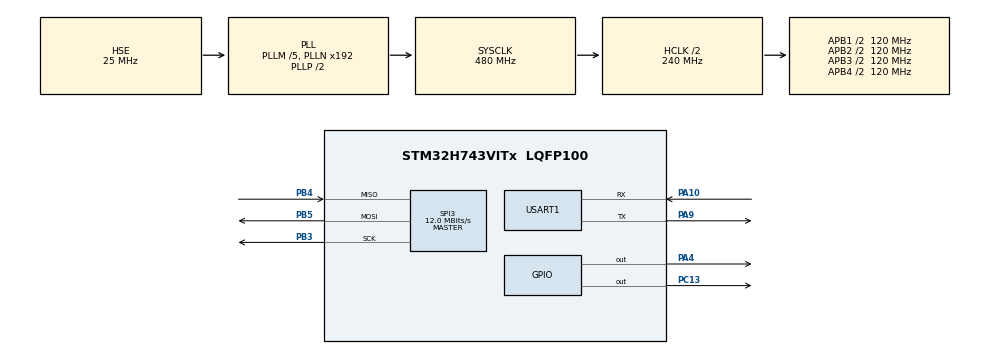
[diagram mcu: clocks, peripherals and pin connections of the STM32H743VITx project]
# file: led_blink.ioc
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CORTEX_M7.default_mode_Activation=1
Mcu.Family=STM32H7
Mcu.Name=STM32H743VITx
Mcu.Package=LQFP100
NVIC.PriorityGroup=NVIC_PRIORITYGROUP_4
PA10.GPIO_ModeDefaultPP=GPIO_MODE_AF_OD
PA10.GPIO_PuPd=GPIO_PULLUP
PA10.Mode=Asynchronous
PA10.Signal=USART1_RX
PA13\ (JTMS/SWDIO).Mode=Serial_Wire
PA13\ (JTMS/SWDIO).Signal=DEBUG_JTMS-SWDIO
PA14\ (JTCK/SWCLK).Mode=Serial_Wire
PA14\ (JTCK/SWCLK).Signal=DEBUG_JTCK-SWCLK
PA4.GPIO_PuPd=GPIO_NOPULL
PA4.Signal=GPIO_Output
PA9.GPIO_ModeDefaultPP=GPIO_MODE_AF_PP
PA9.GPIO_PuPd=GPIO_PULLUP
PA9.Mode=Asynchronous
PA9.Signal=USART1_TX
PB3\ (JTDO/TRACESWO).Mode=Full_Duplex_Master
PB3\ (JTDO/TRACESWO).Signal=SPI3_SCK
PB4\ (NJTRST).Mode=Full_Duplex_Master
PB4\ (NJTRST).Signal=SPI3_MISO
PB5.Mode=Full_Duplex_Master
PB5.Signal=SPI3_MOSI
PC13.GPIO_PuPd=GPIO_PULLUP
PC13.Signal=GPIO_Output
PH0-OSC_IN\ (PH0).Mode=HSE-External-Oscillator
PH0-OSC_IN\ (PH0).Signal=RCC_OSC_IN
PH1-OSC_OUT\ (PH1).Mode=HSE-External-Oscillator
PH1-OSC_OUT\ (PH1).Signal=RCC_OSC_OUT
ProjectManager.HeapSize=0x200
ProjectManager.StackSize=0x400
ProjectManager.TargetToolchain=Makefile
RCC.ADCFreq_Value=192000000
RCC.APB1Freq_Value=120000000
RCC.APB2Freq_Value=120000000
RCC.APB3Freq_Value=120000000
RCC.APB4Freq_Value=120000000
RCC.CortexFreq_Value=480000000
RCC.D1PPRE=RCC_APB3_DIV2
RCC.D2PPRE1=RCC_APB1_DIV2
RCC.D2PPRE2=RCC_APB2_DIV2
RCC.D3PPRE=RCC_APB4_DIV2
RCC.DIVM1=5
RCC.DIVM2=5
RCC.DIVM3=5
RCC.DIVN1=192
RCC.DIVN2=192
RCC.DIVN3=192
RCC.DIVP2=5
RCC.DIVP3=5
RCC.DIVQ1=5
RCC.DIVQ2=5
RCC.DIVQ3=5
RCC.DIVR1=5
RCC.HCLKFreq_Value=240000000
RCC.HPRE=RCC_HCLK_DIV2
RCC.PLL2FRACN=0
RCC.PLL3FRACN=0
RCC.PLLFRACN=0
RCC.PLLSourceVirtual=RCC_PLLSOURCE_HSE
RCC.SYSCLKFreq_VALUE=480000000
RCC.SYSCLKSource=RCC_SYSCLKSOURCE_PLLCLK
RCC.USBFreq_Value=192000000
SPI3.BaudRatePrescaler=SPI_BAUDRATEPRESCALER_16
SPI3.CLKPhase=SPI_PHASE_2EDGE
SPI3.CLKPolarity=SPI_POLARITY_HIGH
SPI3.CalculateBaudRate=12.0 MBits/s
SPI3.DataSize=SPI_DATASIZE_8BIT
SPI3.Direction=SPI_DIRECTION_2LINES
SPI3.Mode=SPI_MODE_MASTER
SPI3.VirtualNSS=VM_NSSSOFT
SPI3.VirtualType=VM_MASTER
USART1.VirtualMode-Asynchronous=VM_ASYNC
VP_MEMORYMAP_VS_MEMORYMAP.Mode=CurAppReg
board=custom

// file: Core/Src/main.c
/* USER CODE BEGIN Header */
/**
  ******************************************************************************
  * @file           : main.c
  * @brief          : Main program body
  ******************************************************************************
  * @attention
  *
  * Copyright (c) 2026 STMicroelectronics.
  * All rights reserved.
  *
  * This software is licensed under terms that can be found in the LICENSE file
  * in the root directory of this software component.
  * If no LICENSE file comes with this software, it is provided AS-IS.
  *
  ******************************************************************************
  */
/* USER CODE END Header */
#include "main.h"

/* USER CODE BEGIN Includes */
#include <ctype.h>
#include <stdio.h>
#include <string.h>
#include "icm42688p.h"

/* USER CODE END Includes */

/* USER CODE BEGIN PD */
/*
 * Runtime print period once the full IMU startup sequence has completed.
 * At that point we print converted values, not the original raw registers.
 */
#define UART_SEND_PERIOD_MS    200U
#define UART_RX_BUFFER_SIZE    128U
#define UART_RX_IDLE_MS        20U

/* According to the INV self-test API:
 * bit0 = gyro pass
 * bit1 = accel pass
 * therefore 0x03 means both sensors passed.
 */
#define IMU_SELF_TEST_PASS_MASK      0x03

/* Fixed-point helpers used only for UART formatting. */
#define FIXED_POINT_3_SCALE          1000UL
#define FIXED_POINT_2_SCALE          100UL

/* USER CODE END PD */

SPI_HandleTypeDef hspi3;

UART_HandleTypeDef huart1;

/* USER CODE BEGIN PV */
/*
 * Application-level state used only by the demo in main.c.
 *
 * The IMU driver state itself lives inside icm42688p.c; these variables only
 * store:
 * - the latest sample for printing
 * - the latest reported official self-test bias values
 * - UART receive helper state
 * - temporary text buffers
 */
static uint32_t uart_send_last_tick = 0U;
static uint8_t uart_rx_byte = 0U;
static char uart_rx_buffer[UART_RX_BUFFER_SIZE] = {0};
static uint16_t uart_rx_len = 0U;
static uint32_t uart_rx_last_tick = 0U;
static ICM42688P_Data_t imu_data;
static ICM42688P_OfficialBias_t imu_official_bias;
static char uart_tx_buffer[192] = {0};
static char uart_reply_buffer[192] = {0};

/* USER CODE END PV */

void SystemClock_Config(void);
static void MPU_Config(void);
static void MX_GPIO_Init(void);
static void MX_USART1_UART_Init(void);
static void MX_SPI3_Init(void);
/* USER CODE BEGIN PFP */
static void UART_FlushReceivedMessage(void);
static void UART_ProcessReceivedByte(uint8_t byte);
static void UART_SendString(const char *text);
static long UART_ScaleFloat(float value, long scale);
static void UART_FormatFixedPoint(char *buffer, size_t buffer_size, long scaled_value, unsigned long scale, unsigned int decimals);
static int UART_IsEnterCommand(const char *command);
static void UART_WaitForEnterCommand(void);
static void UART_PrintOfficialBiasReport(const ICM42688P_OfficialBias_t *bias);
static void UART_PrintConvertedImuData(const ICM42688P_Data_t *data);
static int IMU_StartupSequence(void);

/* USER CODE END PFP */

/* USER CODE BEGIN 0 */
/*
 * Flush the small UART receive line buffer.
 *
 * This is unrelated to the IMU logic. It is only a simple echo-style helper
 * kept from the original template so incoming UART text can still be observed.
 */
static void UART_FlushReceivedMessage(void)
{
  int reply_len = 0;

  if (uart_rx_len == 0U)
  {
    return;
  }

  reply_len = snprintf(uart_reply_buffer, sizeof(uart_reply_buffer),
                       "receive the data from pc: %s\r\n", uart_rx_buffer);
  if (reply_len > 0)
  {
    HAL_UART_Transmit(&huart1, (uint8_t *)uart_reply_buffer, (uint16_t)reply_len, HAL_MAX_DELAY);
  }

  uart_rx_len = 0U;
  uart_rx_buffer[0] = '\0';
}

/* Push one received byte into the line buffer and flush on CR/LF. */
static void UART_ProcessReceivedByte(uint8_t byte)
{
  if ((byte == '\r') || (byte == '\n'))
  {
    UART_FlushReceivedMessage();
    return;
  }

  if (uart_rx_len < (UART_RX_BUFFER_SIZE - 1U))
  {
    uart_rx_buffer[uart_rx_len++] = (char)byte;
    uart_rx_buffer[uart_rx_len] = '\0';
    uart_rx_last_tick = HAL_GetTick();
  }
  else
  {
    uart_rx_len = 0U;
    uart_rx_buffer[0] = '\0';
  }
}

/*
 * Minimal "send one C string" helper.
 *
 * The goal is to keep later status-printing code readable. Without this helper,
 * startup code would be cluttered with repeated HAL_UART_Transmit calls.
 */
static void UART_SendString(const char *text)
{
  if (text == NULL)
  {
    return;
  }

  HAL_UART_Transmit(&huart1, (uint8_t *)text, (uint16_t)strlen(text), HAL_MAX_DELAY);
}

/*
 * Convert a floating-point value to an integer scaled by `scale`.
 *
 * Example:
 * value = 1.234, scale = 1000 -> returns about 1234
 *
 * We do this so the later UART formatting step can build a predictable
 * fixed-point decimal string without relying on `%f`, which is often avoided in
 * embedded `printf` configurations for size reasons.
 */
static long UART_ScaleFloat(float value, long scale)
{
  if (value >= 0.0f)
  {
    return (long)(value * (float)scale + 0.5f);
  }

  return (long)(value * (float)scale - 0.5f);
}

/*
 * Format an already-scaled integer as a decimal string.
 *
 * Example:
 * scaled_value = -1234, scale = 1000, decimals = 3
 * output       = "-1.234"
 *
 * This helper is used by both bias-report printing and normal runtime data
 * printing so those higher-level functions can stay easy to scan.
 */
static void UART_FormatFixedPoint(char *buffer, size_t buffer_size, long scaled_value, unsigned long scale, unsigned int decimals)
{
  const char *sign = "";
  unsigned long abs_value;
  unsigned long whole;
  unsigned long fraction;

  if ((buffer == NULL) || (buffer_size == 0U) || (scale == 0UL))
  {
    return;
  }

  if (scaled_value < 0L)
  {
    sign = "-";
  }

  abs_value = (scaled_value < 0L) ? (unsigned long)(-scaled_value) : (unsigned long)scaled_value;
  whole = abs_value / scale;
  fraction = abs_value % scale;

  (void)snprintf(buffer, buffer_size, "%s%lu.%0*lu", sign, whole, (int)decimals, fraction);
}

/*
 * Check whether one UART line should be treated as the "start runtime" command.
 *
 * We intentionally accept two user habits:
 * - just press Enter on an empty line
 * - type "enter" and then press Enter
 *
 * That makes the startup gate easy to trigger from common serial tools.
 */
static int UART_IsEnterCommand(const char *command)
{
  static const char expected_command[] = "enter";
  size_t index = 0U;

  if (command == NULL)
  {
    return 0;
  }

  if (command[0] == '\0')
  {
    return 1;
  }

  while (expected_command[index] != '\0')
  {
    if ((char)tolower((unsigned char)command[index]) != expected_command[index])
    {
      return 0;
    }

    index++;
  }

  return (command[index] == '\0') ? 1 : 0;
}

/*
 * Block startup until the operator explicitly allows runtime output to begin.
 *
 * Why wait here instead of immediately entering the main loop:
 * - the self-test report stays on screen long enough for the user to read it
 * - the first stream of 200 ms runtime prints does not immediately scroll the
 *   bias report away
 * - the user can decide exactly when the application starts its normal phase
 *
 * Accepted UART actions:
 * - press Enter on an empty line
 * - type "enter" then press Enter
 */
static void UART_WaitForEnterCommand(void)
{
  char command_buffer[16] = {0};
  uint8_t rx_char = 0U;
  uint8_t command_length = 0U;

  UART_SendString("ICM42688P initialization complete.\r\n");
  UART_SendString("Press Enter, or type 'enter' then press Enter, to start runtime output.\r\n");

  while (1)
  {
    if (HAL_UART_Receive(&huart1, &rx_char, 1U, HAL_MAX_DELAY) != HAL_OK)
    {
      continue;
    }

    if ((rx_char == '\r') || (rx_char == '\n'))
    {
      command_buffer[command_length] = '\0';

      if (UART_IsEnterCommand(command_buffer) != 0)
      {
        UART_SendString("Runtime output started.\r\n");
        return;
      }

      UART_SendString("Unknown command. Press Enter or send 'enter'.\r\n");
      command_length = 0U;
      command_buffer[0] = '\0';
      continue;
    }

    if (command_length < (sizeof(command_buffer) - 1U))
    {
      command_buffer[command_length++] = (char)rx_char;
      command_buffer[command_length] = '\0';
    }
    else
    {
      UART_SendString("Command too long. Press Enter or send 'enter'.\r\n");
      command_length = 0U;
      command_buffer[0] = '\0';
    }
  }
}

/*
 * Print the bias report reported by the official INV self-test path.
 *
 * We print each axis twice:
 * - exact Q16 value returned by inv_icm426xx_get_st_bias()
 * - converted engineering value for fast human inspection
 *
 * This is useful when comparing:
 * - our project log
 * - official driver behavior
 * - future register-level debugging
 */
static void UART_PrintOfficialBiasReport(const ICM42688P_OfficialBias_t *bias)
{
  char acc_x[16];
  char acc_y[16];
  char acc_z[16];
  char gyr_x[16];
  char gyr_y[16];
  char gyr_z[16];

  if (bias == NULL)
  {
    return;
  }

  UART_FormatFixedPoint(acc_x, sizeof(acc_x), UART_ScaleFloat(bias->accel_g[0], (long)FIXED_POINT_3_SCALE), FIXED_POINT_3_SCALE, 3U);
  UART_FormatFixedPoint(acc_y, sizeof(acc_y), UART_ScaleFloat(bias->accel_g[1], (long)FIXED_POINT_3_SCALE), FIXED_POINT_3_SCALE, 3U);
  UART_FormatFixedPoint(acc_z, sizeof(acc_z), UART_ScaleFloat(bias->accel_g[2], (long)FIXED_POINT_3_SCALE), FIXED_POINT_3_SCALE, 3U);
  UART_FormatFixedPoint(gyr_x, sizeof(gyr_x), UART_ScaleFloat(bias->gyro_dps[0], (long)FIXED_POINT_3_SCALE), FIXED_POINT_3_SCALE, 3U);
  UART_FormatFixedPoint(gyr_y, sizeof(gyr_y), UART_ScaleFloat(bias->gyro_dps[1], (long)FIXED_POINT_3_SCALE), FIXED_POINT_3_SCALE, 3U);
  UART_FormatFixedPoint(gyr_z, sizeof(gyr_z), UART_ScaleFloat(bias->gyro_dps[2], (long)FIXED_POINT_3_SCALE), FIXED_POINT_3_SCALE, 3U);

  (void)snprintf(uart_tx_buffer,
                 sizeof(uart_tx_buffer),
                 "Official GYR bias Q16[dps*65536]: %ld,%ld,%ld\r\n",
                 (long)bias->gyro_q16[0],
                 (long)bias->gyro_q16[1],
                 (long)bias->gyro_q16[2]);
  UART_SendString(uart_tx_buffer);

  (void)snprintf(uart_tx_buffer,
                 sizeof(uart_tx_buffer),
                 "Official GYR bias[dps]: %s,%s,%s\r\n",
                 gyr_x,
                 gyr_y,
                 gyr_z);
  UART_SendString(uart_tx_buffer);

  (void)snprintf(uart_tx_buffer,
                 sizeof(uart_tx_buffer),
                 "Official ACC bias Q16[g*65536]: %ld,%ld,%ld\r\n",
                 (long)bias->accel_q16[0],
                 (long)bias->accel_q16[1],
                 (long)bias->accel_q16[2]);
  UART_SendString(uart_tx_buffer);

  (void)snprintf(uart_tx_buffer,
                 sizeof(uart_tx_buffer),
                 "Official ACC bias[g]: %s,%s,%s\r\n",
                 acc_x,
                 acc_y,
                 acc_z);
  UART_SendString(uart_tx_buffer);
}

/*
 * Print the normal periodic IMU output once initialization is complete.
 *
 * At this stage:
 * - self-test has already passed
 * - official bias has already been reported to the user
 * - the user has explicitly pressed Enter to begin the runtime phase
 *
 * So this function only focuses on presentation.
 */
static void UART_PrintConvertedImuData(const ICM42688P_Data_t *data)
{
  char acc_x[16];
  char acc_y[16];
  char acc_z[16];
  char gyr_x[16];
  char gyr_y[16];
  char gyr_z[16];
  char temp_c[16];

  if (data == NULL)
  {
    return;
  }

  UART_FormatFixedPoint(acc_x, sizeof(acc_x), UART_ScaleFloat(data->accel_g[0], (long)FIXED_POINT_3_SCALE), FIXED_POINT_3_SCALE, 3U);
  UART_FormatFixedPoint(acc_y, sizeof(acc_y), UART_ScaleFloat(data->accel_g[1], (long)FIXED_POINT_3_SCALE), FIXED_POINT_3_SCALE, 3U);
  UART_FormatFixedPoint(acc_z, sizeof(acc_z), UART_ScaleFloat(data->accel_g[2], (long)FIXED_POINT_3_SCALE), FIXED_POINT_3_SCALE, 3U);
  UART_FormatFixedPoint(gyr_x, sizeof(gyr_x), UART_ScaleFloat(data->gyro_dps[0], (long)FIXED_POINT_3_SCALE), FIXED_POINT_3_SCALE, 3U);
  UART_FormatFixedPoint(gyr_y, sizeof(gyr_y), UART_ScaleFloat(data->gyro_dps[1], (long)FIXED_POINT_3_SCALE), FIXED_POINT_3_SCALE, 3U);
  UART_FormatFixedPoint(gyr_z, sizeof(gyr_z), UART_ScaleFloat(data->gyro_dps[2], (long)FIXED_POINT_3_SCALE), FIXED_POINT_3_SCALE, 3U);
  UART_FormatFixedPoint(temp_c, sizeof(temp_c), UART_ScaleFloat(data->temperature_c, (long)FIXED_POINT_2_SCALE), FIXED_POINT_2_SCALE, 2U);

  (void)snprintf(uart_tx_buffer,
                 sizeof(uart_tx_buffer),
                 "ACC[g]: %s,%s,%s GYR[dps]: %s,%s,%s TMP[C]: %s\r\n",
                 acc_x,
                 acc_y,
                 acc_z,
                 gyr_x,
                 gyr_y,
                 gyr_z,
                 temp_c);
  UART_SendString(uart_tx_buffer);
}

/*
 * Full application-level IMU startup sequence.
 *
 * This is intentionally kept in main.c instead of hiding everything inside
 * ICM42688P_Init(), because the user-facing boot messages are part of the
 * product behavior:
 * 1. initialize communication and default runtime config
 * 2. run official self-test
 * 3. read back the official bias that self-test produced
 * 4. print that official bias
 * 5. announce that initialization is complete
 * 6. wait for the user to send Enter before starting runtime output
 */
static int IMU_StartupSequence(void)
{
  int status;
  int self_test_result = 0;

  UART_SendString("ICM42688P init start...\r\n");

  status = ICM42688P_Init(&hspi3);
  if (status != 0)
  {
    (void)snprintf(uart_tx_buffer, sizeof(uart_tx_buffer), "ICM42688P init failed: %d\r\n", status);
    UART_SendString(uart_tx_buffer);
    return status;
  }

  UART_SendString("ICM42688P self-test running...\r\n");
  status = ICM42688P_RunSelfTest(&self_test_result);
  if (status != 0)
  {
    (void)snprintf(uart_tx_buffer, sizeof(uart_tx_buffer), "ICM42688P self-test command failed: %d\r\n", status);
    UART_SendString(uart_tx_buffer);
    return status;
  }

  if (self_test_result != IMU_SELF_TEST_PASS_MASK)
  {
    (void)snprintf(uart_tx_buffer,
                   sizeof(uart_tx_buffer),
                   "ICM42688P self-test failed: ACC=%s GYR=%s\r\n",
                   ((self_test_result & 0x02) != 0) ? "PASS" : "FAIL",
                   ((self_test_result & 0x01) != 0) ? "PASS" : "FAIL");
    UART_SendString(uart_tx_buffer);
    return -1;
  }

  UART_SendString("ICM42688P self-test passed.\r\n");

  status = ICM42688P_GetOfficialBias(&imu_official_bias);
  if (status != 0)
  {
    (void)snprintf(uart_tx_buffer, sizeof(uart_tx_buffer), "ICM42688P official bias readback failed: %d\r\n", status);
    UART_SendString(uart_tx_buffer);
    return status;
  }

  UART_SendString("Official self-test bias report:\r\n");
  UART_PrintOfficialBiasReport(&imu_official_bias);
  UART_WaitForEnterCommand();

  return 0;
}

/* USER CODE END 0 */

int main(void)
{

  /* MPU Configuration--------------------------------------------------------*/
  MPU_Config();

  /* MCU Configuration--------------------------------------------------------*/

  /* Reset of all peripherals, Initializes the Flash interface and the Systick. */
  HAL_Init();

  /* Configure the system clock */
  SystemClock_Config();

  /* Initialize all configured peripherals */
  MX_GPIO_Init();
  MX_USART1_UART_Init();
  MX_SPI3_Init();
  /* USER CODE BEGIN 2 */

  /*
   * Run the full IMU bring-up flow before entering the normal main loop.
   * If any stage fails, we stop in Error_Handler() because subsequent periodic
   * printing would otherwise be misleading.
   */
  if (IMU_StartupSequence() != 0)
  {
    Error_Handler();
  }

  uart_send_last_tick = HAL_GetTick();
  uart_rx_last_tick = HAL_GetTick();

  /* USER CODE END 2 */

  /* Infinite loop */
  while (1)
  {

    /* USER CODE BEGIN 3 */
    uint32_t now = HAL_GetTick();

    if ((now - uart_send_last_tick) >= UART_SEND_PERIOD_MS)
    {
      int tx_len = 0;
      uart_send_last_tick = now;

      /*
       * Normal runtime phase:
       * read one already-compensated sample and print converted values.
       */
      if (ICM42688P_ReadData(&imu_data) == 0)
      {
        UART_PrintConvertedImuData(&imu_data);
        tx_len = 1;
      }
      else
      {
        tx_len = snprintf(uart_tx_buffer, sizeof(uart_tx_buffer), "ICM42688P read failed\r\n");
        if (tx_len > 0)
        {
          HAL_UART_Transmit(&huart1, (uint8_t *)uart_tx_buffer, (uint16_t)tx_len, HAL_MAX_DELAY);
        }
      }

      HAL_GPIO_TogglePin(GPIOC, GPIO_PIN_13);
    }

    while (HAL_UART_Receive(&huart1, &uart_rx_byte, 1U, 0U) == HAL_OK)
    {
      UART_ProcessReceivedByte(uart_rx_byte);
    }

    if ((uart_rx_len > 0U) && ((HAL_GetTick() - uart_rx_last_tick) >= UART_RX_IDLE_MS))
    {
      UART_FlushReceivedMessage();
    }
  }
  /* USER CODE END 3 */
}

void SystemClock_Config(void)
{
  RCC_OscInitTypeDef RCC_OscInitStruct = {0};
  RCC_ClkInitTypeDef RCC_ClkInitStruct = {0};

  /** Supply configuration update enable
  */
  HAL_PWREx_ConfigSupply(PWR_LDO_SUPPLY);

  /** Configure the main internal regulator output voltage
  */
  __HAL_PWR_VOLTAGESCALING_CONFIG(PWR_REGULATOR_VOLTAGE_SCALE0);

  while(!__HAL_PWR_GET_FLAG(PWR_FLAG_VOSRDY)) {}

  /** Initializes the RCC Oscillators according to the specified parameters
  * in the RCC_OscInitTypeDef structure.
  */
  RCC_OscInitStruct.OscillatorType = RCC_OSCILLATORTYPE_HSE;
  RCC_OscInitStruct.HSEState = RCC_HSE_ON;
  RCC_OscInitStruct.PLL.PLLState = RCC_PLL_ON;
  RCC_OscInitStruct.PLL.PLLSource = RCC_PLLSOURCE_HSE;
  RCC_OscInitStruct.PLL.PLLM = 5;
  RCC_OscInitStruct.PLL.PLLN = 192;
  RCC_OscInitStruct.PLL.PLLP = 2;
  RCC_OscInitStruct.PLL.PLLQ = 5;
  RCC_OscInitStruct.PLL.PLLR = 5;
  RCC_OscInitStruct.PLL.PLLRGE = RCC_PLL1VCIRANGE_2;
  RCC_OscInitStruct.PLL.PLLVCOSEL = RCC_PLL1VCOWIDE;
  RCC_OscInitStruct.PLL.PLLFRACN = 0;
  if (HAL_RCC_OscConfig(&RCC_OscInitStruct) != HAL_OK)
  {
    Error_Handler();
  }

  /** Initializes the CPU, AHB and APB buses clocks
  */
  RCC_ClkInitStruct.ClockType = RCC_CLOCKTYPE_HCLK|RCC_CLOCKTYPE_SYSCLK
                              |RCC_CLOCKTYPE_PCLK1|RCC_CLOCKTYPE_PCLK2
                              |RCC_CLOCKTYPE_D3PCLK1|RCC_CLOCKTYPE_D1PCLK1;
  RCC_ClkInitStruct.SYSCLKSource = RCC_SYSCLKSOURCE_PLLCLK;
  RCC_ClkInitStruct.SYSCLKDivider = RCC_SYSCLK_DIV1;
  RCC_ClkInitStruct.AHBCLKDivider = RCC_HCLK_DIV2;
  RCC_ClkInitStruct.APB3CLKDivider = RCC_APB3_DIV2;
  RCC_ClkInitStruct.APB1CLKDivider = RCC_APB1_DIV2;
  RCC_ClkInitStruct.APB2CLKDivider = RCC_APB2_DIV2;
  RCC_ClkInitStruct.APB4CLKDivider = RCC_APB4_DIV2;

  if (HAL_RCC_ClockConfig(&RCC_ClkInitStruct, FLASH_LATENCY_4) != HAL_OK)
  {
    Error_Handler();
  }
}

static void MX_SPI3_Init(void)
{

  /* SPI3 parameter configuration*/
  hspi3.Instance = SPI3;
  hspi3.Init.Mode = SPI_MODE_MASTER;
  hspi3.Init.Direction = SPI_DIRECTION_2LINES;
  hspi3.Init.DataSize = SPI_DATASIZE_8BIT;
  hspi3.Init.CLKPolarity = SPI_POLARITY_HIGH;
  hspi3.Init.CLKPhase = SPI_PHASE_2EDGE;
  hspi3.Init.NSS = SPI_NSS_SOFT;
  hspi3.Init.BaudRatePrescaler = SPI_BAUDRATEPRESCALER_16;
  hspi3.Init.FirstBit = SPI_FIRSTBIT_MSB;
  hspi3.Init.TIMode = SPI_TIMODE_DISABLE;
  hspi3.Init.CRCCalculation = SPI_CRCCALCULATION_DISABLE;
  hspi3.Init.CRCPolynomial = 0x0;
  hspi3.Init.NSSPMode = SPI_NSS_PULSE_DISABLE;
  hspi3.Init.NSSPolarity = SPI_NSS_POLARITY_LOW;
  hspi3.Init.FifoThreshold = SPI_FIFO_THRESHOLD_01DATA;
  hspi3.Init.TxCRCInitializationPattern = SPI_CRC_INITIALIZATION_ALL_ZERO_PATTERN;
  hspi3.Init.RxCRCInitializationPattern = SPI_CRC_INITIALIZATION_ALL_ZERO_PATTERN;
  hspi3.Init.MasterSSIdleness = SPI_MASTER_SS_IDLENESS_00CYCLE;
  hspi3.Init.MasterInterDataIdleness = SPI_MASTER_INTERDATA_IDLENESS_00CYCLE;
  hspi3.Init.MasterReceiverAutoSusp = SPI_MASTER_RX_AUTOSUSP_DISABLE;
  hspi3.Init.MasterKeepIOState = SPI_MASTER_KEEP_IO_STATE_DISABLE;
  hspi3.Init.IOSwap = SPI_IO_SWAP_DISABLE;
  if (HAL_SPI_Init(&hspi3) != HAL_OK)
  {
    Error_Handler();
  }
  /* USER CODE BEGIN SPI3_Init 2 */
  GPIO_InitTypeDef GPIO_InitStruct = {0};

  /*
   * PA4 is used as a software-controlled chip-select for the IMU.
   * We intentionally configure it after HAL_SPI_Init() so the pin is under
   * plain GPIO control rather than SPI peripheral NSS control.
   */
  GPIO_InitStruct.Pin = ICM42688P_CS_Pin;
  GPIO_InitStruct.Mode = GPIO_MODE_OUTPUT_PP;
  GPIO_InitStruct.Pull = GPIO_NOPULL;
  GPIO_InitStruct.Speed = GPIO_SPEED_FREQ_VERY_HIGH;
  HAL_GPIO_Init(ICM42688P_CS_GPIO_Port, &GPIO_InitStruct);
  HAL_GPIO_WritePin(ICM42688P_CS_GPIO_Port, ICM42688P_CS_Pin, GPIO_PIN_SET);

  /* USER CODE END SPI3_Init 2 */

}

static void MX_USART1_UART_Init(void)
{

  huart1.Instance = USART1;
  huart1.Init.BaudRate = 115200;
  huart1.Init.WordLength = UART_WORDLENGTH_8B;
  huart1.Init.StopBits = UART_STOPBITS_1;
  huart1.Init.Parity = UART_PARITY_NONE;
  huart1.Init.Mode = UART_MODE_TX_RX;
  huart1.Init.HwFlowCtl = UART_HWCONTROL_NONE;
  huart1.Init.OverSampling = UART_OVERSAMPLING_16;
  huart1.Init.OneBitSampling = UART_ONE_BIT_SAMPLE_DISABLE;
  huart1.Init.ClockPrescaler = UART_PRESCALER_DIV1;
  huart1.AdvancedInit.AdvFeatureInit = UART_ADVFEATURE_NO_INIT;
  if (HAL_UART_Init(&huart1) != HAL_OK)
  {
    Error_Handler();
  }
  if (HAL_UARTEx_SetTxFifoThreshold(&huart1, UART_TXFIFO_THRESHOLD_1_8) != HAL_OK)
  {
    Error_Handler();
  }
  if (HAL_UARTEx_SetRxFifoThreshold(&huart1, UART_RXFIFO_THRESHOLD_1_8) != HAL_OK)
  {
    Error_Handler();
  }
  if (HAL_UARTEx_DisableFifoMode(&huart1) != HAL_OK)
  {
    Error_Handler();
  }

}

static void MX_GPIO_Init(void)
{
  GPIO_InitTypeDef GPIO_InitStruct = {0};

  /* GPIO Ports Clock Enable */
  __HAL_RCC_GPIOC_CLK_ENABLE();
  __HAL_RCC_GPIOH_CLK_ENABLE();
  __HAL_RCC_GPIOA_CLK_ENABLE();
  __HAL_RCC_GPIOB_CLK_ENABLE();

  /*Configure GPIO pin Output Level */
  HAL_GPIO_WritePin(GPIOC, GPIO_PIN_13, GPIO_PIN_RESET);

  /*Configure GPIO pin : PC13 */
  GPIO_InitStruct.Pin = GPIO_PIN_13;
  GPIO_InitStruct.Mode = GPIO_MODE_OUTPUT_PP;
  GPIO_InitStruct.Pull = GPIO_PULLUP;
  GPIO_InitStruct.Speed = GPIO_SPEED_FREQ_LOW;
  HAL_GPIO_Init(GPIOC, &GPIO_InitStruct);

}

 /* MPU Configuration */

void MPU_Config(void)
{
  MPU_Region_InitTypeDef MPU_InitStruct = {0};

  /* Disables the MPU */
  HAL_MPU_Disable();

  /** Initializes and configures the Region and the memory to be protected
  */
  MPU_InitStruct.Enable = MPU_REGION_ENABLE;
  MPU_InitStruct.Number = MPU_REGION_NUMBER0;
  MPU_InitStruct.BaseAddress = 0x0;
  MPU_InitStruct.Size = MPU_REGION_SIZE_4GB;
  MPU_InitStruct.SubRegionDisable = 0x87;
  MPU_InitStruct.TypeExtField = MPU_TEX_LEVEL0;
  MPU_InitStruct.AccessPermission = MPU_REGION_NO_ACCESS;
  MPU_InitStruct.DisableExec = MPU_INSTRUCTION_ACCESS_DISABLE;
  MPU_InitStruct.IsShareable = MPU_ACCESS_SHAREABLE;
  MPU_InitStruct.IsCacheable = MPU_ACCESS_NOT_CACHEABLE;
  MPU_InitStruct.IsBufferable = MPU_ACCESS_NOT_BUFFERABLE;

  HAL_MPU_ConfigRegion(&MPU_InitStruct);
  /* Enables the MPU */
  HAL_MPU_Enable(MPU_PRIVILEGED_DEFAULT);

}

void Error_Handler(void)
{
  __disable_irq();
  while (1)
  {
  }
}
